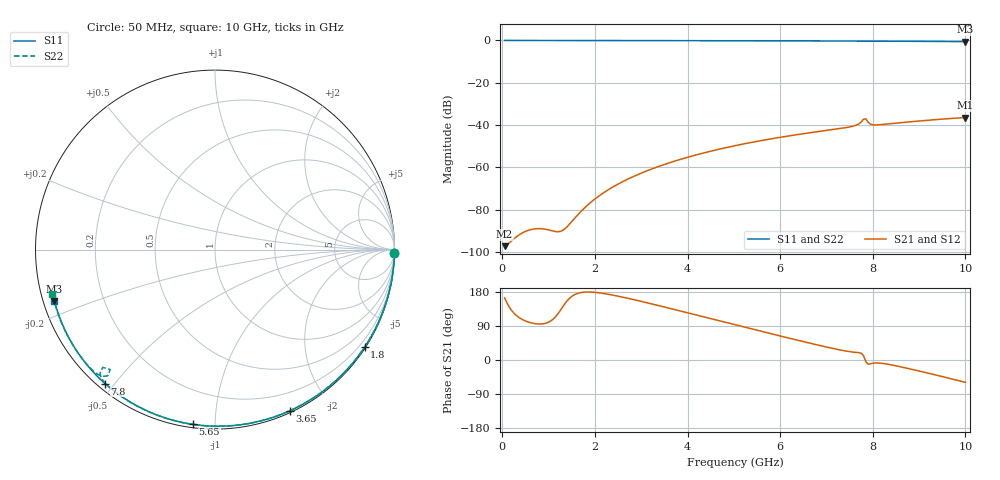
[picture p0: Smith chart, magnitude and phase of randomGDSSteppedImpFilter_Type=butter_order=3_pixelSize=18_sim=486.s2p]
! freq	dB(S11)	phase(S11)	dB(S12)	phase(S12)
!  dB(S21)	phase(S21)	dB(S22)	phase(S22)
!S-par simulation data
#  GHz  S  DB  R 50
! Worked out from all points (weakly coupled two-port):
!   200 points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, 50 MHz to 10 GHz, reference 50 ohm
!   highest |S21| = -36.47 dB at 10 GHz (marker M1); lowest = -97.3 dB at 50 MHz (marker M2)
!   lowest |S11| = -0.5 dB at 10 GHz (marker M3), VSWR 31.85, Z = 1.61 - j7.8 ohm
!   |S11| at or under -10 dB: nowhere
!   |S22| runs from -1.0 to 0.0 dB; largest |S21 - S12| = 0
!   S11 on the Smith chart (normalised r, x): 50 MHz: open; 1.8 GHz: 0.03, -3.37; 3.65 GHz: 0.02, -1.56; 5.65 GHz: 0.02, -0.88; 7.8 GHz: 0.02, -0.47; 10 GHz: 0.03, -0.16
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0.05  -0.00 -0.9  -97.34 163.7  -97.34 163.7  -0.00 -1.0
0.85  -0.02 -15.8  -89.08 95.2  -89.08 95.2  -0.02 -16.1
1.75  -0.04 -32.2  -79.78 178.9  -79.78 178.9  -0.04 -32.7
1.8  -0.04 -33.1  -78.74 179.4  -78.74 179.4  -0.04 -33.6
2.1  -0.05 -38.4  -73.39 177.2  -73.39 177.2  -0.05 -39.0
2.45  -0.06 -44.6  -68.57 169.7  -68.57 169.7  -0.06 -45.3
2.9  -0.07 -52.4  -63.72 157.6  -63.72 157.6  -0.07 -53.3
3.4  -0.08 -61.0  -59.44 142.9  -59.44 142.9  -0.08 -61.9
3.65  -0.09 -65.2  -57.60 135.3  -57.60 135.3  -0.09 -66.2
4.3  -0.11 -75.9  -53.50 115.4  -53.50 115.4  -0.11 -77.1
5.05  -0.14 -87.9  -49.68 92.3  -49.68 92.3  -0.14 -89.3
5.65  -0.16 -97.2  -47.14 74.0  -47.14 74.0  -0.16 -98.8
6.7  -0.22 -113.1  -43.49 42.7  -43.49 42.7  -0.22 -115.0
7.6  -0.29 -126.5  -40.40 20.5  -40.40 20.5  -0.33 -129.5
7.7  -0.30 -127.9  -39.48 19.4  -39.48 19.4  -0.41 -131.7
7.8  -0.30 -129.4  -37.27 11.5  -37.27 11.5  -0.85 -133.6
7.85  -0.31 -130.1  -37.11 -4.2  -37.11 -4.2  -1.04 -131.1
7.9  -0.31 -130.9  -38.71 -11.2  -38.71 -11.2  -0.69 -130.4
8  -0.32 -132.4  -39.93 -8.6  -39.93 -8.6  -0.43 -132.6
8.35  -0.35 -137.5  -39.47 -11.7  -39.47 -11.7  -0.37 -138.9
9.15  -0.44 -149.4  -37.83 -33.4  -37.83 -33.4  -0.45 -151.3
10  -0.55 -162.2  -36.47 -58.9  -36.47 -58.9  -0.55 -164.7
